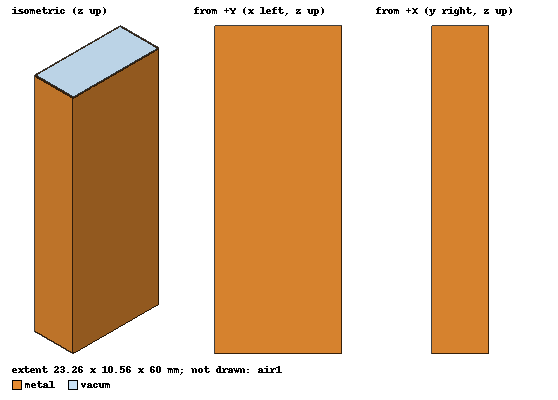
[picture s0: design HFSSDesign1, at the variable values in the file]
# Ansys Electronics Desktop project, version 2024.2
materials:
  vacuum: permittivity=1
  air: permittivity=1.0006 permeability=1.0000004
  copper: permeability=0.999991 conductivity=58000000

design HFSSDesign1 (HFSS, HFSS Terminal Network, model units mm)
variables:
  a = 22.86mm
  l = 60mm
  b = 10.16mm
  th = 0.2mm
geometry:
  air = box(corner=(-a/2, -b/2, 0mm), size=(a, b, l))
  metal [copper] = box(corner=(-a/2-th, -b/2-th, 0mm), size=(a+2*th, b+2*th, l))
  metal.subtract(air)
  vacum [vacuum] = box(corner=(-a/2, -b/2, 0mm), size=(a, b, l))
  air1 [air] = box(corner=(-a/2-5mm, -b/2-5mm, 0mm), size=(a+10mm, b+10mm, l))
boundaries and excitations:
  Rad1: Radiation Objects=air1
  P1: Wave Port Faces=vacum.face(+z) WavePortType=Modal NumModes=1 Modes{Mode1{IntLine{(0, -5.08, 60) -> (0, 5.08, 60)} CharImp=Zpi}}
  P2: Wave Port Faces=vacum.face(-z) WavePortType=Modal NumModes=1 Modes{Mode1{IntLine{(0, -5.08, 0) -> (0, 5.08, 0)} CharImp=Zpi}}
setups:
  Setup1: HfssDriven Frequency=10GHz MaxDeltaS=0.02 MaximumPasses=6 MinimumPasses=1 MinimumConvergedPasses=1 PercentRefinement=30 BasisOrder=1 PortAccuracy=2 DrivenSolverType="Direct Solver"
    sweep Sweep: 2.5GHz to 15GHz step 0.1GHz; Type=Interpolating InterpTolerance=0.5 InterpMaxSolns=250 PassivityErrorTolerance=0.0001
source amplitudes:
  P1:1: 1V 0deg
  P2:1: 0V 0deg
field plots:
  Mag_E1: E Field in vacum on Setup1 : LastAdaptive at Freq=10GHz Phase=0deg
